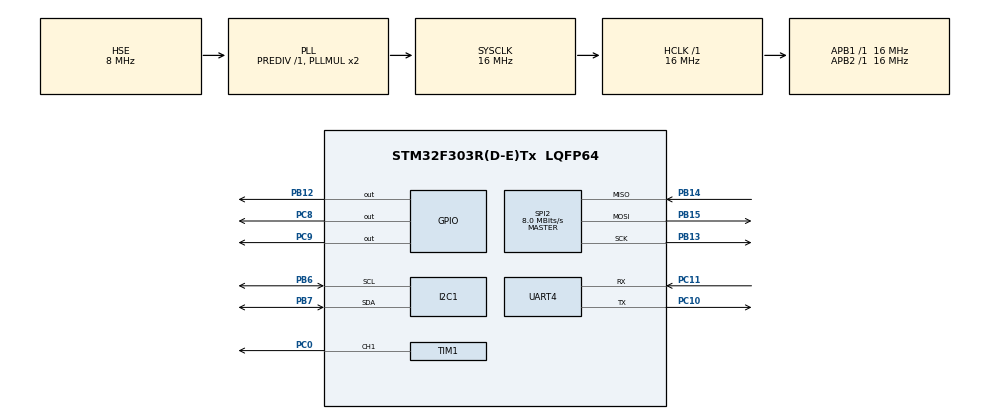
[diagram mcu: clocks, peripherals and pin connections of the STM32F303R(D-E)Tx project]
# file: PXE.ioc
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Mcu.Family=STM32F3
Mcu.Name=STM32F303R(D-E)Tx
Mcu.Package=LQFP64
NVIC.PriorityGroup=NVIC_PRIORITYGROUP_4
NVIC.UART4_IRQn=true\:0\:0\:false\:false\:true\:true
PA13.Mode=Serial_Wire
PA13.Signal=SYS_JTMS-SWDIO
PA14.Mode=Serial_Wire
PA14.Signal=SYS_JTCK-SWCLK
PB12.Signal=GPIO_Output
PB13.Mode=Full_Duplex_Master
PB13.Signal=SPI2_SCK
PB14.Mode=Full_Duplex_Master
PB14.Signal=SPI2_MISO
PB15.Mode=Full_Duplex_Master
PB15.Signal=SPI2_MOSI
PB6.Mode=I2C
PB6.Signal=I2C1_SCL
PB7.Mode=I2C
PB7.Signal=I2C1_SDA
PC0.Signal=S_TIM1_CH1
PC10.Mode=Asynchronous
PC10.Signal=UART4_TX
PC11.Mode=Asynchronous
PC11.Signal=UART4_RX
PC8.Signal=GPIO_Output
PC9.Signal=GPIO_Output
PF0-OSC_IN.Mode=HSE-External-Oscillator
PF0-OSC_IN.Signal=RCC_OSC_IN
PF1-OSC_OUT.Mode=HSE-External-Oscillator
PF1-OSC_OUT.Signal=RCC_OSC_OUT
ProjectManager.HeapSize=0x200
ProjectManager.StackSize=0x400
ProjectManager.TargetToolchain=Makefile
RCC.AHBFreq_Value=16000000
RCC.APB1Freq_Value=16000000
RCC.APB1TimFreq_Value=16000000
RCC.APB2Freq_Value=16000000
RCC.APB2TimFreq_Value=16000000
RCC.CortexFreq_Value=16000000
RCC.HCLKFreq_Value=16000000
RCC.HSE_VALUE=8000000
RCC.HSI_VALUE=8000000
RCC.LSE_VALUE=32768
RCC.PLLSourceVirtual=RCC_PLLSOURCE_HSE
RCC.SYSCLKFreq_VALUE=16000000
RCC.SYSCLKSourceVirtual=RCC_SYSCLKSOURCE_PLLCLK
RCC.USBFreq_Value=16000000
SH.S_TIM1_CH1.0=TIM1_CH1,PWM Generation1 CH1
SPI2.BaudRatePrescaler=SPI_BAUDRATEPRESCALER_2
SPI2.CLKPhase=SPI_PHASE_2EDGE
SPI2.CalculateBaudRate=8.0 MBits/s
SPI2.DataSize=SPI_DATASIZE_16BIT
SPI2.Direction=SPI_DIRECTION_2LINES
SPI2.Mode=SPI_MODE_MASTER
SPI2.VirtualType=VM_MASTER
TIM1.Channel-PWM\ Generation1\ CH1=TIM_CHANNEL_1
TIM1.Period=3
TIM1.Pulse-PWM\ Generation1\ CH1=2
VP_TIM1_VS_ClockSourceINT.Mode=Internal
board=custom

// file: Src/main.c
/* USER CODE BEGIN Header */
/**
  ******************************************************************************
  * @file           : main.c
  * @brief          : Main program body
  ******************************************************************************
  ** This notice applies to any and all portions of this file
  * that are not between comment pairs USER CODE BEGIN and
  * USER CODE END. Other portions of this file, whether
  * inserted by the user or by software development tools
  * are owned by their respective copyright owners.
  *
  * COPYRIGHT(c) 2019 STMicroelectronics
  *
  * Redistribution and use in source and binary forms, with or without modification,
  * are permitted provided that the following conditions are met:
  *   1. Redistributions of source code must retain the above copyright notice,
  *      this list of conditions and the following disclaimer.
  *   2. Redistributions in binary form must reproduce the above copyright notice,
  *      this list of conditions and the following disclaimer in the documentation
  *      and/or other materials provided with the distribution.
  *   3. Neither the name of STMicroelectronics nor the names of its contributors
  *      may be used to endorse or promote products derived from this software
  *      without specific prior written permission.
  *
  * THIS SOFTWARE IS PROVIDED BY THE COPYRIGHT HOLDERS AND CONTRIBUTORS "AS IS"
  * AND ANY EXPRESS OR IMPLIED WARRANTIES, INCLUDING, BUT NOT LIMITED TO, THE
  * IMPLIED WARRANTIES OF MERCHANTABILITY AND FITNESS FOR A PARTICULAR PURPOSE ARE
  * DISCLAIMED. IN NO EVENT SHALL THE COPYRIGHT HOLDER OR CONTRIBUTORS BE LIABLE
  * FOR ANY DIRECT, INDIRECT, INCIDENTAL, SPECIAL, EXEMPLARY, OR CONSEQUENTIAL
  * DAMAGES (INCLUDING, BUT NOT LIMITED TO, PROCUREMENT OF SUBSTITUTE GOODS OR
  * SERVICES; LOSS OF USE, DATA, OR PROFITS; OR BUSINESS INTERRUPTION) HOWEVER
  * CAUSED AND ON ANY THEORY OF LIABILITY, WHETHER IN CONTRACT, STRICT LIABILITY,
  * OR TORT (INCLUDING NEGLIGENCE OR OTHERWISE) ARISING IN ANY WAY OUT OF THE USE
  * OF THIS SOFTWARE, EVEN IF ADVISED OF THE POSSIBILITY OF SUCH DAMAGE.
  *
  ******************************************************************************
  */
/* USER CODE END Header */

#include "main.h"

I2C_HandleTypeDef hi2c1;

SPI_HandleTypeDef hspi2;

TIM_HandleTypeDef htim1;

UART_HandleTypeDef huart4;

void SystemClock_Config(void);
static void MX_GPIO_Init(void);
static void MX_SPI2_Init(void);
static void MX_UART4_Init(void);
static void MX_TIM1_Init(void);
static void MX_I2C1_Init(void);

static void spi_tx(void);
static void ttn_init(const uint16_t rst_dur, const uint16_t pwm_max);
static void ttn_rowcol(const uint16_t row, const uint16_t col);
static void ttn_ramwrite(const uint16_t vs);
static void ttn_ramread();
static void ttn_pxvo(const uint16_t vs);
static void pxe_ffy(int data);
static void ttn_col(const uint16_t col);
static void ttn_row(const uint16_t row);
static void ttn_pxvoRef(const uint16_t vs);

uint8_t buffrx[1] = {0};
uint8_t bufftx[1] = {0};

uint16_t master_tx[1] = {0};
uint16_t master_rx[1] = {0};

int ttn_cmd = 0;
int n_frame = 0;
int vs = 0;
int read = 0;
int end = 0xFFFF;
int col_now = 0;
uint16_t col_max = 56;
int row_now = 0;
uint16_t row_max = 78;
double temp_avg = 0;
double temp_avg_init = 0;
unsigned int nframe = 0;
unsigned int n_pixel_temp = 0;
unsigned int step;
unsigned int vref;
unsigned int ctr_op = 0;
uint16_t tol = 20;
unsigned int ctr_hi = 0;
unsigned int ctr_low = 0;
unsigned int count_pxon = 0;
unsigned int tmp=0;
unsigned int count = 0;
unsigned int count2 = 0;
uint16_t tempfootprint[988];
signed int tempdac = 0;
signed long long temperr_prev = 0;
unsigned int pid_true = 0;
int tempmax = 600;
unsigned int temp0 = 395;
signed int tempref_dyn = 0;
signed int temperr = 0;
signed int tempP = 0;
int tempPkr = 70;//15//3;
signed int tempI = 0;
signed int tempD = 0;
int tempPir = 1;//5//5;
int tempPd = 150;//10//2;
signed long long temperr_prevD = 0;
int tempmin = 300;
unsigned char btrx = 0;
int tau63[2];
uint16_t vreg = 730;
unsigned int tempavg = 0;

int main(void)
{

  /* Reset of all peripherals, Initializes the Flash interface and the Systick. */
  HAL_Init();

  /* Configure the system clock */
  SystemClock_Config();

  /* Initialize all configured peripherals */
  MX_GPIO_Init();
  MX_SPI2_Init();
  MX_UART4_Init();
  MX_TIM1_Init();
  MX_I2C1_Init();

  // Start TTN clock
  if (HAL_TIM_PWM_Start(&htim1, TIM_CHANNEL_1) != HAL_OK)
  {
    // PWM Generation Error
    Error_Handler();
  }

	/*if (HAL_DAC_Start(&hdac1, DAC_CHANNEL_1) != HAL_OK)
	{
		Error_Handler();
  }

	if (HAL_DAC_Start(&hdac1, DAC_CHANNEL_2) != HAL_OK)
	{
		Error_Handler();
	}*/

  HAL_UART_Receive_IT(&huart4, buffrx, 1);

  while (1){
	  switch(ttn_cmd){
			// INITALIZE TTN
      case 1:
        // Turn ON LED
        HAL_GPIO_WritePin(GPIOC, GPIO_PIN_8, GPIO_PIN_SET);

        // Reset TTN
        ttn_init(3,50);

        n_frame = 0;

				// Set Vref DAC to 0V
				//HAL_DAC_SetValue(&hdac1, DAC_CHANNEL_1, DAC_ALIGN_8B_R, 0);

				// Set Peltier DAC to 0V
				//HAL_DAC_SetValue(&hdac1, DAC_CHANNEL_2, DAC_ALIGN_8B_R, 0);

        // Check TTN is connected and operational using temperature px
        ttn_rowcol(1,1);
				ttn_ramwrite(0);
				vs = 0;
				read = 0;
				// Sweep Vs from 0 to 1023 until vreg reached
				while(vs<1024 && read<vreg){
					// Read pixel at Vs value
					ttn_pxvo(vs);
					vs++;
				}
				vs--;

        // Compare Vs,tau with optimal range
				if(vs>255 && vs<426){
					// ACK and BT string end to Firefly
          bufftx[0] = 'a';
          HAL_UART_Transmit_IT(&huart4, bufftx, 1);
				}
				else{
					// BAD RESULT and BT string end to Firefly
          bufftx[0] = 'n';
          HAL_UART_Transmit_IT(&huart4, bufftx, 1);
				}

        //while(U1STAbits.TRMT==0); what's this for??
        pxe_ffy(end);
        // Operation complete, deassert flag
        ttn_cmd = 0;

        // Turn OFF LED
        HAL_GPIO_WritePin(GPIOC, GPIO_PIN_8, GPIO_PIN_RESET);
        break;

			// TAKE TEMPERATURE FOOTPRINT
      case 2:
				// Turn on LED
      	HAL_GPIO_WritePin(GPIOC, GPIO_PIN_8, GPIO_PIN_SET);

				// Traverse all temperature px
				for(col_now=1; col_now<col_max; col_now+=3){
						ttn_col(col_now);

					for(row_now=1; row_now<row_max; row_now+=3){
						// Change pixel
						//ttn_rowcol(row, col);
						ttn_row(row_now);
						ttn_ramwrite(0);
						vs = 0;
						read = 0;
						// Sweep Vs from 0 to 1023 until treg reached
						while((vs<1024) && (read < vreg)){
							// Read pixel at Vs value
							ttn_pxvo(vs);
							vs++;
						}
						// Store correct Vs in RAM
						vs--;
						ttn_ramwrite(vs);
						// Send to Firefly
						pxe_ffy(vs);

						// If temp pixel
						if((row_now>27) && (row_now<51) && (col_now>30)){
							temp_avg = temp_avg + vs;
							if (nframe==1){
								n_pixel_temp=vs;
							}
						}
					}
				}

				temp_avg = temp_avg/72;
				temp_avg_init = temp_avg;

				// Operation complete, deassert flag
				ttn_cmd = 0;
				// ACK and BT string end to Firefly
				bufftx[0] = 'b';
				HAL_UART_Transmit_IT(&huart4, bufftx, 1);
				pxe_ffy(end);

				// Turn OFF LED
        HAL_GPIO_WritePin(GPIOC, GPIO_PIN_8, GPIO_PIN_RESET);
			break;

			// SEARCH OPTIMAL REFERENCE ELECTRODE VOLTAGE
			case 3:
			// Turn ON LED
			HAL_GPIO_WritePin(GPIOC, GPIO_PIN_8, GPIO_PIN_SET);

			int vmax, vmin;
			vref = 512;
			step = 512; // While-loop divides step by 2 at the start

			// Initialize at midpoint Vref = 0 (i.e. DAC 512/1023)
			ctr_op = 0;
			//HAL_DAC_SetValue(&hdac1, DAC_CHANNEL_1, DAC_ALIGN_8B_R, vref);

			// Parse one frame to get initial ctr_op
			for(col_now=0; col_now<col_max; col_now++){
					ttn_col(col_now);

				for(row_now=0; row_now<row_max; row_now++){
					ttn_row(row_now);
					// Change pixel and clear RAM
					// Discharge behaviour of chemical px
					if((col_now%3!=1) || (row_now%3!=1)){
						ttn_ramwrite(0);
						// Read pixel Vout at Vs 0
						ttn_pxvoRef(0);
						vmin = read;
						// Read pixel Vout at Vs 700
						ttn_pxvoRef(800);
						vmax = read;

						// If Px is ON, increment counter
						if(vmin<100 && vmax>(vreg-tol)){
							ctr_op++;
						}
					}
				}
			}

			// Binary search algorithm to maximize # of ON px
			while(step > 4){

				step /= 2;

				ctr_hi = 0;
				//HAL_DAC_SetValue(&hdac1, DAC_CHANNEL_1, DAC_ALIGN_8B_R, vref+step);

				// Parse one frame
				for(col_now=0; col_now<col_max; col_now++){
					ttn_col(col_now);

					for(row_now=0; row_now<row_max; row_now++){
					ttn_row(row_now);
						// Change pixel and clear RAM
						// Discharge behaviour of chemical px
						if((col_now%3!=1) || (row_now%3!=1)){
							ttn_ramwrite(0);
							// Read pixel Vout at Vs 0
							ttn_pxvoRef(0);
							vmin = read;
							// Read pixel Vout at Vs 700
							ttn_pxvoRef(800);
							vmax = read;

							// If Px is ON, increment counter
							if(vmin<100 && vmax>(vreg-tol)){
								ctr_hi++;
							}
						}
					}
				}

				ctr_low = 0;
				//HAL_DAC_SetValue(&hdac1, DAC_CHANNEL_1, DAC_ALIGN_8B_R, vref-step);

				// Parse one frame
				for(col_now=0; col_now<col_max; col_now++){
					ttn_col(col_now);

					for(row_now=0; row_now<row_max; row_now++){
					ttn_row(row_now);
						// Change pixel and clear RAM
						// Discharge behaviour of chemical px
						if((col_now%3!=1) || (row_now%3!=1)){
							ttn_ramwrite(0);
							// Read pixel Vout at Vs 0
							ttn_pxvoRef(0);
							vmin = read;
							// Read pixel Vout at Vs 700
							ttn_pxvoRef(800);
							vmax = read;

							// If Px is ON, increment counter
							if(vmin<100 && vmax>(vreg-tol)){
								ctr_low++;
							}
						}
					}
				}

				// Adjust Vref and step size if current Vref is not optimal
				if(ctr_op<ctr_hi){
					vref += step;
					ctr_op = ctr_hi;
				}
				else if(ctr_op<ctr_low){
					vref -= step;
					ctr_op = ctr_low;
				}
			}

			count_pxon = ctr_op;

			// Set optimal Vref
			//HAL_DAC_SetValue(&hdac1, DAC_CHANNEL_1, DAC_ALIGN_8B_R, vref);

			// Store flags to indicate ON/OFF state of px and send to Firefly
			for(col_now=0; col_now<col_max; col_now++){
					ttn_col(col_now);
				for(row_now=0; row_now<row_max; row_now++){
					ttn_row(row_now);
					// Change pixel and clear RAM
					//ttn_rowcol(row, col);

					// Only search on chemical px
					if((col_now%3==1) && (row_now%3==1)){
						// Read RAM value of temperature px
						//ttn_ramread();
						vs = 511;
					}
					else{ // Discharge behaviour of chemical px
						ttn_ramwrite(0);
						// Read pixel Vout at Vs 0
						ttn_pxvoRef(0);
						// ttn_pxvo(0);
						vmin = read;
						//ttn_ramwrite(0);
						// Read pixel Vout at Vs 700
						ttn_pxvoRef(800);
						// ttn_pxvo(700);
						vmax = read;

						// Determine if px is ON/OFF

						// Px ON, write 511 to RAM
						if(vmin<100 && vmax>(vreg-tol)){
							vs = 511;
						}
						// Px discharge too fast, write 0 to RAM
						else if(vmin<100 && vmax<100){
							vs = 0;
						}
						// Px discharge too slow, write 1023 to RAM
						else if(vmin>(vreg-tol) && vmax>(vreg-tol)){
							vs = 1023;
						}
					}

					// Write flags to RAM
					ttn_ramwrite(vs);

					// Send to Firefly
					pxe_ffy(vs);
				}
			}

			// Operation complete, deassert flag
			ttn_cmd = 0;

			// ACK and BT string end to Firefly
			bufftx[0] = 'd';
			HAL_UART_Transmit_IT(&huart4, bufftx, 1);
			pxe_ffy(end);

			// Turn OFF LED
			HAL_GPIO_WritePin(GPIOC, GPIO_PIN_8, GPIO_PIN_RESET);
		break;

		// CALIBRATE ARRAY Vs VALUES
		case 4:
		// Turn ON LED
			HAL_GPIO_WritePin(GPIOC, GPIO_PIN_8, GPIO_PIN_SET);

			int vsFlag;

			for(col_now=0; col_now<col_max; col_now++){
					ttn_col(col_now);

				for(row_now=0; row_now<row_max; row_now++){
					ttn_row(row_now);
					// Change pixel and clear RAM
					ttn_ramread();
					vsFlag = read;

					// Only calibrate chemical px UNCOMMENT THIS TO CHECK ACTIVE PIXELS
					//if (vsFlag == 511){
						// Determine if px is ON/OFF
						// Ignore OFF px (RAM == 0 or 1023 from Vref step)
						vs = 0;
						int out1=0;

						// Sweep Vs from 0 to 1023 until vreg reached

						while((vs<1024) && (out1 < (vreg-tol))){

							// Read pixel at Vs value
							ttn_pxvo(vs);
							out1 = read;
							vs++;
						}
						// Correct Vs due to while-loop
						vsFlag = vs-1;
					//}

					// Write Vs to RAM
					ttn_ramwrite(vsFlag);

					// Send to Firefly
					pxe_ffy(vsFlag);
				}
			}

			// Operation complete, deassert flag
			ttn_cmd = 0;
			// ACK and BT string end to Firefly
			bufftx[0] = 'e';
			HAL_UART_Transmit_IT(&huart4, bufftx, 1);

			// Firefly end frame
			pxe_ffy(end);

			// Turn OFF LED
			HAL_GPIO_WritePin(GPIOC, GPIO_PIN_8, GPIO_PIN_RESET);
		break;

		// LOAD TEMPERATURE FOOTPRINT
		case 5:
			// Turn ON LED
			HAL_GPIO_WritePin(GPIOC, GPIO_PIN_8, GPIO_PIN_SET);

			HAL_Delay(500);

			count = 0;
			temp_avg = 0;

			// Traverse all temperature px
			for(col_now=1; col_now<col_max; col_now+=3){
					ttn_col(col_now);

				for(row_now=1; row_now<row_max; row_now+=3){
					ttn_row(row_now);
					// Change pixel
					// Store correct Vs in RAM
					vs = (tempfootprint[count] << 8) | tempfootprint[count+1];
					ttn_ramwrite(vs);
					count+=2;

					// If temp pixel
					if((row_now>27) && (row_now<51) && (col_now>30)){
						temp_avg = temp_avg + vs;
						if (nframe==1){
							n_pixel_temp=vs;
						}
					}

				}
			}

			temp_avg = temp_avg/72;
			temp_avg_init = temp_avg;

			// Operation complete, deassert flag
			ttn_cmd = 0;
			// ACK and BT string end to Firefly
			bufftx[0] = 'c';
			HAL_UART_Transmit_IT(&huart4, bufftx, 1);

			// Firefly end frame
			pxe_ffy(end);

			// Turn OFF LED
			HAL_GPIO_WritePin(GPIOC, GPIO_PIN_8, GPIO_PIN_RESET);
		break;

		// REGULATE PELTIER TO 63C
		case 6:
			// Turn ON LED
			HAL_GPIO_WritePin(GPIOC, GPIO_PIN_8, GPIO_PIN_SET);

			// Peltier DAC at full power 5V
			//HAL_DAC_SetValue(&hdac1, DAC_CHANNEL_2, DAC_ALIGN_8B_R, 1023);

			// Operation complete, but maintain flag ? (Not maintained)
			// ACK and BT string end to Firefly
			bufftx[0] = 'f';
			HAL_UART_Transmit_IT(&huart4, bufftx, 1);
			pxe_ffy(end);
			ttn_cmd = 0;

			// Turn OFF LED
			HAL_GPIO_WritePin(GPIOC, GPIO_PIN_8, GPIO_PIN_RESET);

			// check this - why turning LED off again?

			// Send to DAC
			tempdac = 600;
			//HAL_DAC_SetValue(&hdac1, DAC_CHANNEL_2, DAC_ALIGN_8B_R, tempdac);

			if (count2>20){
				// Turn off LED
				HAL_GPIO_WritePin(GPIOC, GPIO_PIN_8, GPIO_PIN_RESET);
			}
			HAL_Delay(500);

		 stop:  HAL_GPIO_WritePin(GPIOC, GPIO_PIN_8, GPIO_PIN_RESET);		// Turn off LED

		break;

		// ARRAY READOUT
		case 7:

			temperr_prev /= 3;

			if(nframe == 0 || nframe == 1) {
				pid_true = 0;
			}

			// Set optimal Vref
			//HAL_DAC_SetValue(&hdac1, DAC_CHANNEL_1, DAC_ALIGN_8B_R, vref);

			//HAL_DAC_SetValue(&hdac1, DAC_CHANNEL_2, DAC_ALIGN_8B_R, 0);

			while(ttn_cmd == 7){
				if(ttn_cmd==0){
					break;
				}
				HAL_GPIO_WritePin(GPIOC, GPIO_PIN_8, GPIO_PIN_SET);		// Turn on LED

				// Vref sweep
				if (nframe==6 || nframe==7 || nframe==8) {
					if (vref<900) {
						//HAL_DAC_SetValue(&hdac1, DAC_CHANNEL_1, DAC_ALIGN_8B_R, vref+20);
					}
					else {
						//HAL_DAC_SetValue(&hdac1, DAC_CHANNEL_1, DAC_ALIGN_8B_R, vref-20);
					}
				}
				else if(nframe>8){
					//HAL_DAC_SetValue(&hdac1, DAC_CHANNEL_1, DAC_ALIGN_8B_R, vref);
				}

				count = 0;

				temp_avg = 0;
				if (nframe==1){
					n_pixel_temp = 0;
				}
				for(col_now=0; col_now<col_max; col_now++){
					ttn_col(col_now);

					for(row_now=0; row_now<row_max; row_now++){
					ttn_row(row_now);
						// Chemical px
						// Change pixel
						// Read and clear RAM Vs value
						ttn_ramread();
						vs = read;
						// Intermediate calib Vs of active px
						if(vs!=0 && vs!=1023){
								ttn_pxvo(vs);

								if(read<(vreg-tol) && vs<1020){

									while(read<(vreg-tol) && vs<1020){
										vs++;
										ttn_pxvo(vs);
									}

									vs--;
								}
								else if(read>(vreg+tol) && vs>4){

									while(read>(vreg+tol) && vs>4){
										vs--;
										ttn_pxvo(vs);
									}
									vs++;
								}
						}

						// Store Vs in RAM
						ttn_ramwrite(vs);

						// If temp pixel
						if((col_now%3==1) && (row_now%3==1) && (row_now>27) && (row_now<51) && (col_now>30)){
							temp_avg = temp_avg + vs;

							if (nframe==1){
								n_pixel_temp=vs;
							}
						}

						// Send value to Firefly
						pxe_ffy(vs);
					}
				}

				// Send Vref value
				pxe_ffy(vref);

				HAL_GPIO_WritePin(GPIOC, GPIO_PIN_8, GPIO_PIN_RESET);		// Turn off LED

				tempavg = 0;
				temp_avg = temp_avg/72;
				n_pixel_temp = temp_avg;
				pxe_ffy(temp_avg);

				// Firefly end frame
				pxe_ffy(end);

				if (nframe>10) {

					if(nframe <60) {
						// New DAC value
						tempdac = tempmax;
					}
					else if(nframe <200) {
						// New DAC value
						tempdac = temp0;

						if (nframe == 199) {
							tempref_dyn = temp_avg;
						}
					}
					else {
						// Error
						temperr = - temp_avg + tempref_dyn;

						// Proportional
						tempP = tempPkr*temperr;
						//if(tempP>tempmax-temp0){tempP=tempmax-temp0;}
						//else if(tempP<tempmin-temp0){tempP=tempmin-temp0;}
						//if (tempP < 0) {
						//	tempP = 2*tempP;
						//}

						// Integral
						tempI = tempPir*(temperr+temperr_prev);
						//if(tempI>tempmax-temp0){tempI=tempmax-temp0;}
						//else if(tempI<tempmin-temp0){tempI=tempmin-temp0;}

						// Deriative
						tempD = tempPd*(temperr-temperr_prevD);
						//if(tempD>tempmax-temp0){tempD=tempmax-temp0;}
						//else if(tempD<tempmin-temp0){tempD=tempmin-temp0;}

						// New DAC value
						tempdac = temp0 + tempP + tempD;// + tempI + tempD ;
						if(tempdac>tempmax){tempdac=tempmax;}
						else if(tempdac<tempmin){tempdac=tempmin;}
						temperr_prev += temperr;
						temperr_prevD = temperr;

					}

					tempdac=0;

					// Send to DAC - why tempdac if 0
					//HAL_DAC_SetValue(&hdac1, DAC_CHANNEL_2, DAC_ALIGN_8B_R, tempdac);
				}

				nframe++;
			}

			// Operation complete, deassert flag
			ttn_cmd = 0;
			HAL_GPIO_WritePin(GPIOC, GPIO_PIN_8, GPIO_PIN_RESET);		// Turn off LED

		break;
	  }
  }
	return 0;
}

void SystemClock_Config(void)
{
  RCC_OscInitTypeDef RCC_OscInitStruct = {0};
  RCC_ClkInitTypeDef RCC_ClkInitStruct = {0};
  RCC_PeriphCLKInitTypeDef PeriphClkInit = {0};

  /**Initializes the CPU, AHB and APB busses clocks */
  RCC_OscInitStruct.OscillatorType = RCC_OSCILLATORTYPE_HSI|RCC_OSCILLATORTYPE_HSE;
  RCC_OscInitStruct.HSEState = RCC_HSE_ON;
  RCC_OscInitStruct.HSIState = RCC_HSI_ON;
  RCC_OscInitStruct.HSICalibrationValue = RCC_HSICALIBRATION_DEFAULT;
  RCC_OscInitStruct.PLL.PLLState = RCC_PLL_ON;
  RCC_OscInitStruct.PLL.PLLSource = RCC_PLLSOURCE_HSE;
  RCC_OscInitStruct.PLL.PLLMUL = RCC_PLL_MUL2;
  RCC_OscInitStruct.PLL.PREDIV = RCC_PREDIV_DIV1;
  if (HAL_RCC_OscConfig(&RCC_OscInitStruct) != HAL_OK)
  {
    Error_Handler();
  }
  /**Initializes the CPU, AHB and APB busses clocks */
  RCC_ClkInitStruct.ClockType = RCC_CLOCKTYPE_HCLK|RCC_CLOCKTYPE_SYSCLK
                              |RCC_CLOCKTYPE_PCLK1|RCC_CLOCKTYPE_PCLK2;
  RCC_ClkInitStruct.SYSCLKSource = RCC_SYSCLKSOURCE_PLLCLK;
  RCC_ClkInitStruct.AHBCLKDivider = RCC_SYSCLK_DIV1;
  RCC_ClkInitStruct.APB1CLKDivider = RCC_HCLK_DIV1;
  RCC_ClkInitStruct.APB2CLKDivider = RCC_HCLK_DIV1;

  if (HAL_RCC_ClockConfig(&RCC_ClkInitStruct, FLASH_LATENCY_0) != HAL_OK)
  {
    Error_Handler();
  }
  PeriphClkInit.PeriphClockSelection = RCC_PERIPHCLK_UART4|RCC_PERIPHCLK_I2C1
                              |RCC_PERIPHCLK_TIM1;
  PeriphClkInit.Uart4ClockSelection = RCC_UART4CLKSOURCE_PCLK1;
  PeriphClkInit.I2c1ClockSelection = RCC_I2C1CLKSOURCE_HSI;
  PeriphClkInit.Tim1ClockSelection = RCC_TIM1CLK_HCLK;
  if (HAL_RCCEx_PeriphCLKConfig(&PeriphClkInit) != HAL_OK)
  {
    Error_Handler();
  }
}

static void MX_I2C1_Init(void)
{

  hi2c1.Instance = I2C1;
  hi2c1.Init.Timing = 0x2000090E;
  hi2c1.Init.OwnAddress1 = 0;
  hi2c1.Init.AddressingMode = I2C_ADDRESSINGMODE_7BIT;
  hi2c1.Init.DualAddressMode = I2C_DUALADDRESS_DISABLE;
  hi2c1.Init.OwnAddress2 = 0;
  hi2c1.Init.OwnAddress2Masks = I2C_OA2_NOMASK;
  hi2c1.Init.GeneralCallMode = I2C_GENERALCALL_DISABLE;
  hi2c1.Init.NoStretchMode = I2C_NOSTRETCH_DISABLE;
  if (HAL_I2C_Init(&hi2c1) != HAL_OK)
  {
    Error_Handler();
  }
  /**Configure Analogue filter
  */
  if (HAL_I2CEx_ConfigAnalogFilter(&hi2c1, I2C_ANALOGFILTER_ENABLE) != HAL_OK)
  {
    Error_Handler();
  }
  /**Configure Digital filter
  */
  if (HAL_I2CEx_ConfigDigitalFilter(&hi2c1, 0) != HAL_OK)
  {
    Error_Handler();
  }

}

static void MX_SPI2_Init(void)
{

  /* SPI2 parameter configuration*/
  hspi2.Instance = SPI2;
  hspi2.Init.Mode = SPI_MODE_MASTER;
  hspi2.Init.Direction = SPI_DIRECTION_2LINES;
  hspi2.Init.DataSize = SPI_DATASIZE_16BIT;
  hspi2.Init.CLKPolarity = SPI_POLARITY_LOW;
  hspi2.Init.CLKPhase = SPI_PHASE_2EDGE;
  hspi2.Init.NSS = SPI_NSS_SOFT;
  hspi2.Init.BaudRatePrescaler = SPI_BAUDRATEPRESCALER_2;
  hspi2.Init.FirstBit = SPI_FIRSTBIT_MSB;
  hspi2.Init.TIMode = SPI_TIMODE_DISABLE;
  hspi2.Init.CRCCalculation = SPI_CRCCALCULATION_DISABLE;
  hspi2.Init.CRCPolynomial = 7;
  hspi2.Init.CRCLength = SPI_CRC_LENGTH_DATASIZE;
  hspi2.Init.NSSPMode = SPI_NSS_PULSE_DISABLE;
  if (HAL_SPI_Init(&hspi2) != HAL_OK)
  {
    Error_Handler();
  }

}

static void MX_TIM1_Init(void)
{

  TIM_ClockConfigTypeDef sClockSourceConfig = {0};
  TIM_MasterConfigTypeDef sMasterConfig = {0};
  TIM_OC_InitTypeDef sConfigOC = {0};
  TIM_BreakDeadTimeConfigTypeDef sBreakDeadTimeConfig = {0};

  htim1.Instance = TIM1;
  htim1.Init.Prescaler = 0;
  htim1.Init.CounterMode = TIM_COUNTERMODE_UP;
  htim1.Init.Period = 3;
  htim1.Init.ClockDivision = TIM_CLOCKDIVISION_DIV1;
  htim1.Init.RepetitionCounter = 0;
  htim1.Init.AutoReloadPreload = TIM_AUTORELOAD_PRELOAD_DISABLE;
  if (HAL_TIM_Base_Init(&htim1) != HAL_OK)
  {
    Error_Handler();
  }
  sClockSourceConfig.ClockSource = TIM_CLOCKSOURCE_INTERNAL;
  if (HAL_TIM_ConfigClockSource(&htim1, &sClockSourceConfig) != HAL_OK)
  {
    Error_Handler();
  }
  if (HAL_TIM_PWM_Init(&htim1) != HAL_OK)
  {
    Error_Handler();
  }
  sMasterConfig.MasterOutputTrigger = TIM_TRGO_RESET;
  sMasterConfig.MasterOutputTrigger2 = TIM_TRGO2_RESET;
  sMasterConfig.MasterSlaveMode = TIM_MASTERSLAVEMODE_DISABLE;
  if (HAL_TIMEx_MasterConfigSynchronization(&htim1, &sMasterConfig) != HAL_OK)
  {
    Error_Handler();
  }
  sConfigOC.OCMode = TIM_OCMODE_PWM1;
  sConfigOC.Pulse = 2;
  sConfigOC.OCPolarity = TIM_OCPOLARITY_HIGH;
  sConfigOC.OCNPolarity = TIM_OCNPOLARITY_HIGH;
  sConfigOC.OCFastMode = TIM_OCFAST_DISABLE;
  sConfigOC.OCIdleState = TIM_OCIDLESTATE_RESET;
  sConfigOC.OCNIdleState = TIM_OCNIDLESTATE_RESET;
  if (HAL_TIM_PWM_ConfigChannel(&htim1, &sConfigOC, TIM_CHANNEL_1) != HAL_OK)
  {
    Error_Handler();
  }
  sBreakDeadTimeConfig.OffStateRunMode = TIM_OSSR_DISABLE;
  sBreakDeadTimeConfig.OffStateIDLEMode = TIM_OSSI_DISABLE;
  sBreakDeadTimeConfig.LockLevel = TIM_LOCKLEVEL_OFF;
  sBreakDeadTimeConfig.DeadTime = 0;
  sBreakDeadTimeConfig.BreakState = TIM_BREAK_DISABLE;
  sBreakDeadTimeConfig.BreakPolarity = TIM_BREAKPOLARITY_HIGH;
  sBreakDeadTimeConfig.BreakFilter = 0;
  sBreakDeadTimeConfig.Break2State = TIM_BREAK2_DISABLE;
  sBreakDeadTimeConfig.Break2Polarity = TIM_BREAK2POLARITY_HIGH;
  sBreakDeadTimeConfig.Break2Filter = 0;
  sBreakDeadTimeConfig.AutomaticOutput = TIM_AUTOMATICOUTPUT_DISABLE;
  if (HAL_TIMEx_ConfigBreakDeadTime(&htim1, &sBreakDeadTimeConfig) != HAL_OK)
  {
    Error_Handler();
  }
  HAL_TIM_MspPostInit(&htim1);

}

static void MX_UART4_Init(void)
{

  huart4.Instance = UART4;
  huart4.Init.BaudRate = 115200;
  huart4.Init.WordLength = UART_WORDLENGTH_8B;
  huart4.Init.StopBits = UART_STOPBITS_1;
  huart4.Init.Parity = UART_PARITY_NONE;
  huart4.Init.Mode = UART_MODE_TX_RX;
  huart4.Init.HwFlowCtl = UART_HWCONTROL_NONE;
  huart4.Init.OverSampling = UART_OVERSAMPLING_16;
  huart4.Init.OneBitSampling = UART_ONE_BIT_SAMPLE_DISABLE;
  huart4.AdvancedInit.AdvFeatureInit = UART_ADVFEATURE_NO_INIT;
  if (HAL_UART_Init(&huart4) != HAL_OK)
  {
    Error_Handler();
  }

}

static void MX_GPIO_Init(void)
{
  GPIO_InitTypeDef GPIO_InitStruct = {0};

  /* GPIO Ports Clock Enable */
  __HAL_RCC_GPIOF_CLK_ENABLE();
  __HAL_RCC_GPIOC_CLK_ENABLE();
  __HAL_RCC_GPIOB_CLK_ENABLE();
  __HAL_RCC_GPIOA_CLK_ENABLE();

  /*Configure GPIO pin Output Level */
  HAL_GPIO_WritePin(GPIOB, GPIO_PIN_12, GPIO_PIN_RESET);

  /*Configure GPIO pin Output Level */
  HAL_GPIO_WritePin(GPIOC, GPIO_PIN_8|GPIO_PIN_9, GPIO_PIN_RESET);

  /*Configure GPIO pin : PB12 */
  GPIO_InitStruct.Pin = GPIO_PIN_12;
  GPIO_InitStruct.Mode = GPIO_MODE_OUTPUT_PP;
  GPIO_InitStruct.Pull = GPIO_NOPULL;
  GPIO_InitStruct.Speed = GPIO_SPEED_FREQ_LOW;
  HAL_GPIO_Init(GPIOB, &GPIO_InitStruct);

  /*Configure GPIO pins : PC8 PC9 */
  GPIO_InitStruct.Pin = GPIO_PIN_8|GPIO_PIN_9;
  GPIO_InitStruct.Mode = GPIO_MODE_OUTPUT_PP;
  GPIO_InitStruct.Pull = GPIO_NOPULL;
  GPIO_InitStruct.Speed = GPIO_SPEED_FREQ_LOW;
  HAL_GPIO_Init(GPIOC, &GPIO_InitStruct);

}

/* USER CODE BEGIN 4 */
static void spi_tx(void){
  // Set SS pin low to activate
  HAL_GPIO_WritePin(GPIOB, GPIO_PIN_12, GPIO_PIN_RESET);

  // Transmit instruction over SPI
  if(HAL_SPI_TransmitReceive(&hspi2, (uint8_t*)&master_tx[0], (uint8_t*)&master_rx[0], 1, 1000)!=HAL_OK){
    Error_Handler();
  }

  // Check finished
  while(HAL_SPI_GetState(&hspi2) != HAL_SPI_STATE_READY){
  }

  // Set SS pin high to deactivate
  HAL_GPIO_WritePin(GPIOB, GPIO_PIN_12, GPIO_PIN_SET);
}

/* Reset TTN and define durations */
static void ttn_init(const uint16_t rst_dur, const uint16_t pwm_max){
	uint16_t rst_ttn = 8192;
	uint16_t rst_dur_seq = 34048 + rst_dur;
	uint16_t pwm_max_seq = 34304 + pwm_max;

  // Reset TTN
  master_tx[0] = rst_ttn;
  spi_tx();
  HAL_Delay(100);

  // Define reset duration of pixel before measurement
  master_tx[0] = rst_dur_seq;
  spi_tx();

  // Define PWM max width
  master_tx[0] = pwm_max_seq;
  spi_tx();
}

/* Access row and col of TTN */
static void ttn_rowcol(const uint16_t row, const uint16_t col){
	uint16_t row_seq = 49152 + row*16;
	uint16_t col_seq = 51200 + col*32;

  // Access Row
  master_tx[0] = row_seq;
  spi_tx();
  HAL_Delay(1);
  //__delay_us(20);

  // Access Col
  master_tx[0] = col_seq;
  spi_tx();
  HAL_Delay(1);
  //__delay_us(20);
}

/* Write to RAM of TTN */
static void ttn_ramwrite(const uint16_t vs){
  uint16_t wram = 56320 + vs;

	// Store Vs value in RAM
  master_tx[0] = wram;

  spi_tx();
  HAL_Delay(1);
  //__delay_us(15);
}

static void ttn_ramread(){
	// Read Vs value in RAM
	master_tx[0] = 0xD800;

	// Discard the previous value
	spi_tx();
  HAL_Delay(1);
	//__delay_us(10);

  // Write 0 to RAM
	master_tx[0] = 56320;

	// Read this value
	spi_tx();

	tmp = master_rx[0];
  HAL_Delay(1);
  // __delay_us(10);

	read = (tmp >> 6);
}

/* Send command to read temp pixel with Vs value */
static void ttn_pxvo(const uint16_t vs){
  uint16_t rtemp = 53248 + vs;

  master_tx[0] = rtemp;
  spi_tx();
  HAL_Delay(1);
  //__delay_us(50);

	// Write 0 to RAM
	master_tx[0] = 56320;

	// Read temp value
  spi_tx();
  read = master_rx[0];
  HAL_Delay(1);
  //__delay_us(15);
}

static void pxe_ffy(int data){
	//Transmit via Bluetooth to Android phone
	// Shift MSByte
	bufftx[0] = (char)(data >> 8);
	HAL_UART_Transmit_IT(&huart4, bufftx, 1);
  //	__delay_us(10);
	// Shift LSByte
	bufftx[0] = (char)data;
	HAL_UART_Transmit_IT(&huart4, bufftx, 1);
//	__delay_us(10);
}

static void ttn_col(const uint16_t col){
	uint16_t col_seq = 51200 + col*32;

  master_tx[0] = col_seq;
	spi_tx();

	//tmp = SPI1BUFL;
	//__delay_us(10);
  //__delay_us(20);
}

static void ttn_row(const uint16_t row){
	uint16_t row_seq = 49152 + row*16;

	master_tx[0] = row_seq;
  spi_tx();
	//tmp = SPI1BUFL;
	//__delay_us(10);
	//__delay_us(20);
}

static void ttn_pxvoRef(const uint16_t vs){
	// Send command to read pixel with Vs value
  uint16_t rtemp = 53248 + vs;

	// Discard the previous value
  master_tx[0] = rtemp;
  spi_tx();

	HAL_Delay(50);
  //__delay_us(50);

  // Write 0 to RAM
	master_tx[0] = 56320;

	// Read temp value
  spi_tx();
  read = master_rx[0];
  HAL_Delay(1);

	//__delay_us(15);
}

void HAL_UART_RxCpltCallback(UART_HandleTypeDef *huart){
	/*if(buffrx[0] == 'a'){
		HAL_GPIO_TogglePin(GPIOA, LD2_Pin);
	}
	if(buffrx[0] == 'b'){
		HAL_GPIO_TogglePin(GPIOA, LD2_Pin);
	}
	HAL_UART_Receive_IT(&huart4, buffrx, 1);*/

	//LATBbits.LATB2 = 1;		// Turn on LED
	/*if (U1STAbits.OERR == 1) // Clear RX overrun flag
	{
		U1STAbits.OERR = 0;
	}
	else
	{
			while(U1STAbits.URXDA)
		{*/
			if(ttn_cmd == 0){
				btrx = buffrx[0];
				switch(btrx){
					case 'Q': ttn_cmd = 1;
					break;
					case 'R': ttn_cmd = 2;
					break;
					case 'T': ttn_cmd = 3;
					break;
					case 'U': ttn_cmd = 4;
					break;
					case 'S': count = 0;
								bufftx[0] = 's';
								HAL_UART_Transmit_IT(&huart4, bufftx, 1);
								pxe_ffy(end);
								ttn_cmd = 9;
					break;
					case 'V': count = 0;
								ttn_cmd = 10;
					break;
					case 'W': ttn_cmd = 7;
					break;
					case 'C': ttn_cmd = 8;
					break;
					}
			}
			else if(ttn_cmd == 6){
				btrx = buffrx[0];
				if(btrx == 'W'){
					ttn_cmd = 7;
				}
				else if(btrx == 'C'){
					ttn_cmd = 8;
				}
			}
			else if(ttn_cmd == 7){
				btrx = buffrx[0];
				if(btrx == 'X'){
					ttn_cmd = 0;
				}
			}
			else if(ttn_cmd == 9){
				btrx = buffrx[0];
				if(btrx == 0xFF){
					ttn_cmd = 0;
				}
				else{
					tempfootprint[count] = btrx;
					count++;
					if(count == 988){
						count = 0;
						ttn_cmd = 5;
					}
				}
			}
			else if(ttn_cmd == 10){
				btrx = buffrx[0];
				tau63[count] = btrx;
				count++;
				if(count == 2){
					count = 0;
					ttn_cmd = 6;
				}
			}
			HAL_UART_Receive_IT(&huart4, buffrx, 1);
//	LATBbits.LATB2 = 0;		// Turn off LED
	//IFS0bits.U1RXIF = 0;
}

/* USER CODE END 4 */

void Error_Handler(void)
{
}

/************************ (C) COPYRIGHT STMicroelectronics *****END OF FILE****/
